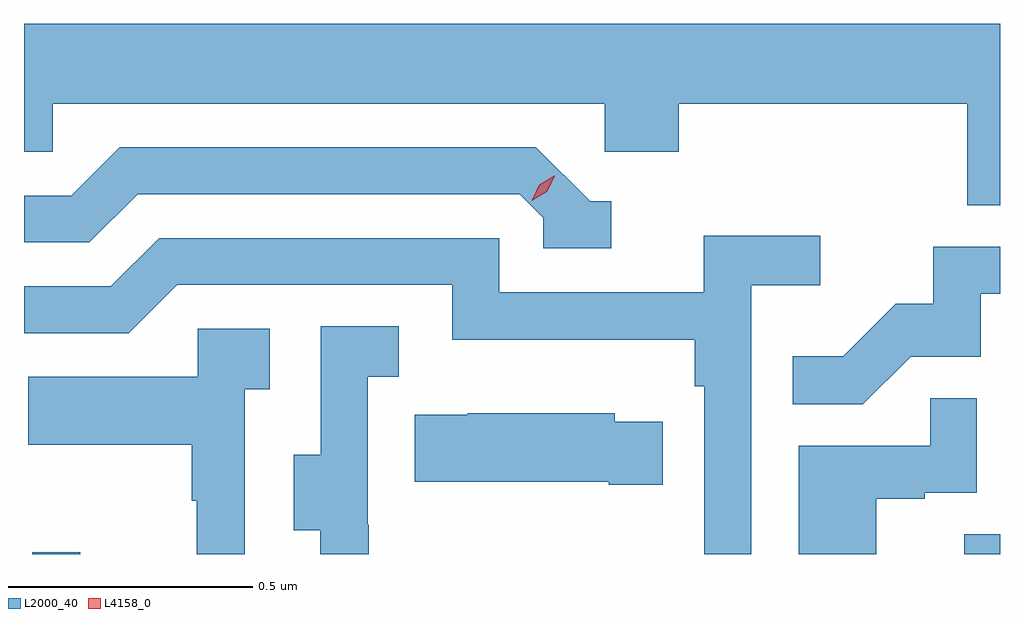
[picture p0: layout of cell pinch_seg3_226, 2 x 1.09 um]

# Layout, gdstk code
import gdstk
lib = gdstk.Library(unit=1e-6, precision=1e-09)
def R(c, l, rs):  # rectangles x0, y0, x1, y1
    for r in rs: c.add(gdstk.rectangle(r[:2], r[2:], *l))
def P(c, l, *ps):  # polygons
    for p in ps: c.add(gdstk.Polygon(p, *l))
L2000_40 = (2000, 40)
L4158_0 = (4158, 0)

pinch_seg3_226 = lib.new_cell('pinch_seg3_226')
R(pinch_seg3_226, L2000_40, [(948.765,739.953,948.863,739.957), (950.675,739.953,950.748,739.994)])
P(pinch_seg3_226, L2000_40, [(950.748,741.04),(948.748,741.04),(948.748,740.778),(948.807,740.778),(948.807,740.876),(949.938,740.876),(949.938,740.778),(950.09,740.778),(950.09,740.876),(950.681,740.876),(950.681,740.668),(950.748,740.668)],
  [(949.951,740.676),(949.908,740.676),(949.797,740.787),(948.944,740.787),(948.845,740.688),(948.748,740.688),(948.748,740.592),(948.882,740.592),(948.981,740.691),(949.764,740.691),(949.812,740.643),(949.812,740.58),(949.951,740.58)],
  [(950.238,740.504),(950.38,740.504),(950.38,740.606),(950.141,740.606),(950.141,740.49),(949.722,740.49),(949.722,740.601),(949.025,740.601),(948.926,740.502),(948.748,740.502),(948.748,740.406),(948.963,740.406),(949.062,740.505),(949.626,740.505),(949.626,740.393),(950.122,740.393),(950.122,740.297),(950.142,740.297),(950.142,739.953),(950.238,739.953)],
  [(950.565,740.358),(950.709,740.358),(950.709,740.487),(950.748,740.487),(950.748,740.583),(950.611,740.583),(950.611,740.466),(950.534,740.466),(950.427,740.359),(950.323,740.359),(950.323,740.26),(950.467,740.26)],
  [(949.454,740.013),(949.452,740.013),(949.452,740.317),(949.516,740.317),(949.516,740.42),(949.356,740.42),(949.356,740.157),(949.301,740.157),(949.301,740.002),(949.355,740.002),(949.355,739.953),(949.454,739.953)],
  [(949.2,740.291),(949.252,740.291),(949.252,740.415),(949.104,740.415),(949.104,740.317),(948.757,740.317),(948.757,740.177),(949.092,740.177),(949.092,740.063),(949.102,740.063),(949.102,739.953),(949.2,739.953)],
  [(950.494,740.067),(950.594,740.067),(950.594,740.079),(950.7,740.079),(950.7,740.273),(950.605,740.273),(950.605,740.175),(950.336,740.175),(950.336,739.953),(950.494,739.953)],
  [(950.057,740.224),(949.959,740.224),(949.959,740.242),(949.657,740.242),(949.657,740.239),(949.549,740.239),(949.549,740.102),(949.946,740.102),(949.946,740.095),(950.057,740.095)])
P(pinch_seg3_226, L4158_0, [(949.788,740.677),(949.788,740.677),(949.804,740.71),(949.835,740.729),(949.836,740.729),(949.836,740.728),(949.819,740.696),(949.788,740.677)])

lib.write_gds('pinch_seg3_226.gds')
